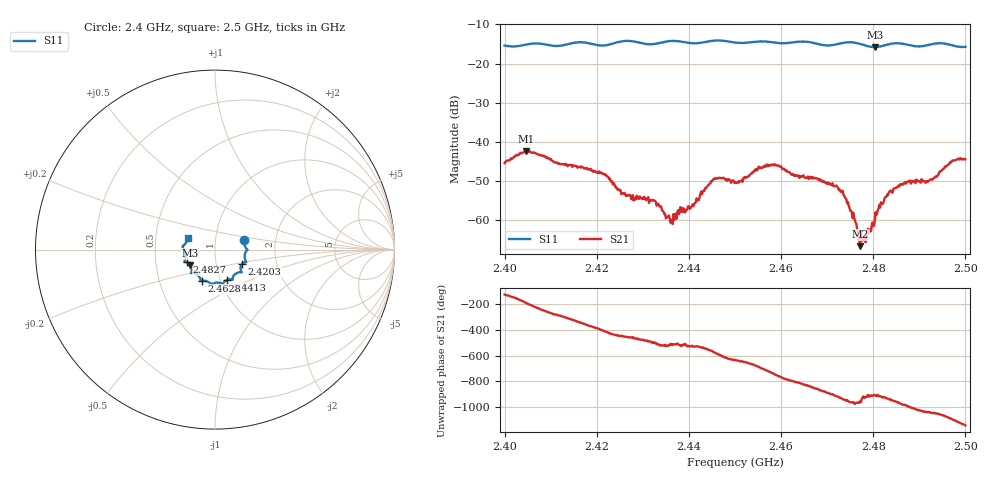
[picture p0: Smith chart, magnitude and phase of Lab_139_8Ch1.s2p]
# Hz S RI R 50
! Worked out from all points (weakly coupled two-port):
!   601 points, 2.4 GHz to 2.5 GHz, reference 50 ohm
!   highest |S21| = -42.35 dB at 2.4047 GHz (marker M1); lowest = -66.6 dB at 2.4772 GHz (marker M2)
!   lowest |S11| = -15.8 dB at 2.4803 GHz (marker M3), VSWR 1.39, Z = 37.4 - j6.76 ohm
!   |S11| at or under -10 dB: start of sweep to end of sweep
!   S12 and S22 are empty: the file has one direction only
!   S11 on the Smith chart (normalised r, x): 2.4 GHz: 1.38, +0.15; 2.4203 GHz: 1.34, -0.22; 2.4413 GHz: 1.08, -0.38; 2.4628 GHz: 0.82, -0.29; 2.4827 GHz: 0.72, -0.10; 2.5 GHz: 0.73, +0.10
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2.4e9  0.1618 0.0528  -0.00296 -0.00449  0 0  0 0
2.404667e9  0.1753 0.00525  -0.00753 0.00125  0 0  0 0
2.416667e9  0.1743 -0.0695  0.00472 0.0013  0 0  0 0
2.420333e9  0.1521 -0.0795  0.00361 -0.00195  0 0  0 0
2.425833e9  0.1484 -0.1251  4.39e-05 -0.00222  0 0  0 0
2.433333e9  0.1 -0.1522  -0.00141 -0.00083  0 0  0 0
2.436333e9  0.0983 -0.1685  -0.000845 -0.000351  0 0  0 0
2.441333e9  0.0672 -0.1691  -0.00164 -0.000352  0 0  0 0
2.445333e9  0.0433 -0.1916  -0.00289 0.00172  0 0  0 0
2.45e9  0.0244 -0.1843  0.000182 0.00298  0 0  0 0
2.457333e9  -0.0257 -0.1881  0.00508 -0.000188  0 0  0 0
2.462833e9  -0.0719 -0.1735  0.000646 -0.00364  0 0  0 0
2.466667e9  -0.0807 -0.1676  -0.002 -0.00278  0 0  0 0
2.473167e9  -0.1283 -0.1304  -0.00192 0.00126  0 0  0 0
2.477167e9  -0.1303 -0.1222  -0.000285 0.000373  0 0  0 0
2.478167e9  -0.1292 -0.1127  -0.00056 0.000287  0 0  0 0
2.480333e9  -0.137 -0.088  -0.000982 6.37e-05  0 0  0 0
2.482667e9  -0.1578 -0.0705  -0.00172 0.000985  0 0  0 0
2.483333e9  -0.1632 -0.0683  -0.0018 0.00134  0 0  0 0
2.491833e9  -0.1725 0.000862  0.0023 0.00207  0 0  0 0
2.497167e9  -0.1688 0.0292  0.00561 -0.00146  0 0  0 0
2.5e9  -0.151 0.0645  0.00279 -0.00535  0 0  0 0
